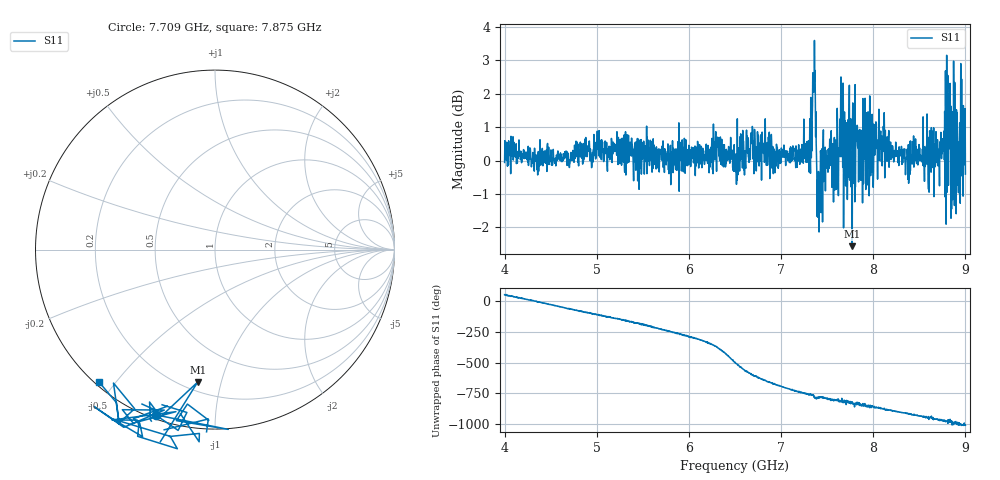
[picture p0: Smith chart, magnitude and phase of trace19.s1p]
! Created with skrf 1.8.0 (http://scikit-rf.org).
# Hz S RI R 50.0
!freq ReS11 ImS11
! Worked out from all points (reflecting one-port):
!   1601 points, 4 GHz to 9 GHz, reference 50 ohm
!   lowest |S11| = -2.6 dB at 7.772 GHz (marker M1), VSWR 6.82, Z = 12.8 - j42.2 ohm
!   phase of S11 starts at 49 deg and turns -1056 deg over the sweep
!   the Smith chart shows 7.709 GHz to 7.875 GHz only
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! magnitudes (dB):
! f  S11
! 4 GHz  -0.1
! 4.625 GHz  0.0
! 5.25 GHz  -0.1
! 5.875 GHz  0.2
! 6.291 GHz  0.9
! 6.5 GHz  0.0
! 6.691 GHz  1.0
! 7.125 GHz  0.4
! 7.294 GHz  0.2
! 7.347 GHz  2.1
! 7.362 GHz  3.6
! 7.397 GHz  -1.7
! 7.412 GHz  -2.1
! 7.478 GHz  0.4
! 7.606 GHz  -0.8
! 7.65 GHz  2.5
! 7.703 GHz  -0.8
! 7.75 GHz  0.2
! 7.772 GHz  -2.6
! 7.834 GHz  0.4
! 7.859 GHz  0.9
! 8.097 GHz  -0.2
! 8.375 GHz  0.0
! 8.697 GHz  0.6
! 8.822 GHz  1.7
! 8.919 GHz  -0.4
! 8.972 GHz  0.3
! 9 GHz  -0.4
